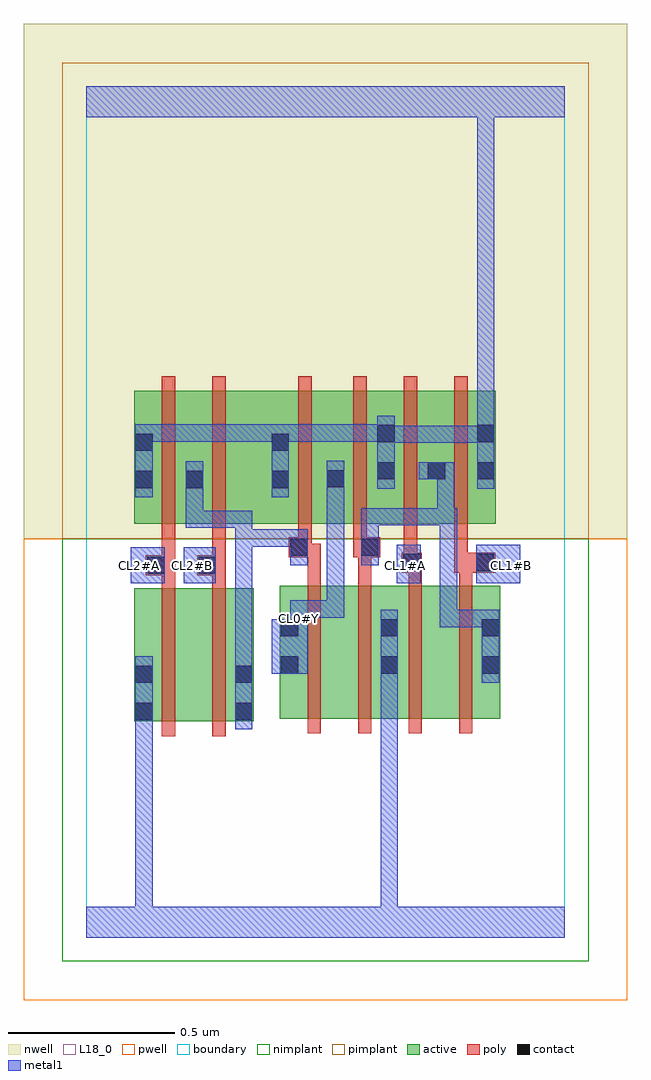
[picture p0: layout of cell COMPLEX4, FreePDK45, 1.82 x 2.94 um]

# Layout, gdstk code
import gdstk
lib = gdstk.Library(unit=1e-6, precision=1e-09)
def R(c, l, rs):  # rectangles x0, y0, x1, y1
    for r in rs: c.add(gdstk.rectangle(r[:2], r[2:], *l))
def A(c, l, x, y, w, h, nx, ny, dx, dy):  # array of equal rectangles
    R(c, l, [(x+i*dx, y+j*dy, x+i*dx+w, y+j*dy+h) for i in range(nx) for j in range(ny)])
active = (1, 0)
pwell = (2, 0)
nwell = (3, 0)
nimplant = (4, 0)
pimplant = (5, 0)
poly = (9, 0)
contact = (10, 0)
metal1 = (11, 0)
L18_0 = (18, 0)
boundary = (235, 0)

complex4 = lib.new_cell('COMPLEX4')
A(complex4, active, 0.72, 1.244, 0.06, 0.4, 3, 1, 0.152, 0)
R(complex4, active, [(0.144,0.65,0.324,1.05), (0.144,0.65,0.204,1.05), (0.324,0.65,0.504,1.05), (0.444,0.65,0.504,1.05), (0.582,0.658,0.762,1.058), (0.762,0.658,0.942,1.058), (0.882,0.658,1.066,1.058), (1.066,0.658,1.246,1.058), (0.582,0.756,0.642,1.058), (0.882,0.756,0.942,1.058), (1.186,0.756,1.246,1.058), (0.144,1.244,0.204,1.644), (0.144,1.244,0.356,1.644), (0.296,1.244,0.356,1.644), (0.296,1.244,0.614,1.644), (0.554,1.244,0.614,1.644), (0.554,1.244,0.78,1.644), (0.72,1.244,0.932,1.644), (0.872,1.244,1.084,1.644), (1.024,1.244,1.232,1.644), (1.172,1.244,1.232,1.644)])
R(complex4, pwell, [(-0.188,-0.188,1.628,1.2)])
R(complex4, nwell, [(-0.188,1.2,1.628,2.748)])
R(complex4, nimplant, [(-0.072,-0.072,1.512,1.2)])
R(complex4, pimplant, [(-0.072,1.2,1.512,2.632)])
A(complex4, poly, 0.666, 0.614, 0.04, 0.488, 4, 1, 0.152, 0)
A(complex4, poly, 0.804, 1.2, 0.04, 0.488, 3, 1, 0.152, 0)
R(complex4, poly, [(0.228,0.606,0.268,1.094), (0.38,0.606,0.42,1.094), (0.228,1.054,0.268,1.13), (0.38,1.054,0.42,1.13), (0.666,1.062,0.706,1.184), (0.818,1.062,0.858,1.184), (0.97,1.062,1.01,1.138), (1.122,1.062,1.162,1.138), (0.18,1.09,0.268,1.15), (0.228,1.09,0.268,1.13), (0.228,1.09,0.268,1.13), (0.334,1.09,0.42,1.15), (0.95,1.098,1.01,1.158), (1.108,1.098,1.23,1.158), (1.122,1.098,1.162,1.138), (1.122,1.098,1.162,1.138), (0.228,1.11,0.268,1.24), (0.38,1.11,0.42,1.15), (0.38,1.11,0.42,1.15), (0.38,1.11,0.42,1.24), (0.956,1.118,0.996,1.24), (0.956,1.118,0.996,1.158), (0.956,1.118,0.996,1.158), (1.108,1.118,1.148,1.24), (0.61,1.144,0.678,1.204), (0.638,1.144,0.678,1.184), (0.638,1.144,0.706,1.184), (0.804,1.144,0.884,1.204), (0.818,1.144,0.858,1.184), (0.818,1.144,0.858,1.184), (0.638,1.164,0.678,1.24), (0.804,1.164,0.844,1.24), (0.228,1.2,0.268,1.688), (0.38,1.2,0.42,1.688), (0.638,1.2,0.678,1.688)])
R(complex4, contact, [(0.148,0.654,0.2,0.706), (0.448,0.654,0.5,0.706), (0.148,0.766,0.2,0.818), (0.448,0.766,0.5,0.818), (0.586,0.794,0.638,0.846), (0.886,0.794,0.938,0.846), (1.19,0.794,1.242,0.846), (0.586,0.906,0.638,0.958), (0.886,0.906,0.938,0.958), (1.19,0.906,1.242,0.958), (0.184,1.094,0.236,1.146), (0.338,1.094,0.39,1.146), (0.954,1.102,1.006,1.154), (1.174,1.102,1.226,1.154), (0.614,1.148,0.666,1.2), (0.828,1.148,0.88,1.2), (0.148,1.352,0.2,1.404), (0.3,1.352,0.352,1.404), (0.558,1.352,0.61,1.404), (0.724,1.354,0.776,1.406), (0.876,1.378,0.928,1.43), (1.028,1.378,1.08,1.43), (1.176,1.378,1.228,1.43), (0.148,1.464,0.2,1.516), (0.558,1.464,0.61,1.516), (0.876,1.49,0.928,1.542), (1.176,1.49,1.228,1.542)])
A(complex4, metal1, 0.338, 1.492, 0.052, 0.052, 3, 1, 0.11, 0)
R(complex4, metal1, [(0,0,1.44,0.092), (0.148,0.04,0.2,0.092), (0.148,0.04,0.2,0.092), (0.148,0.04,0.2,0.092), (0.148,0.04,0.2,0.092), (0.148,0.04,0.2,0.092), (0.148,0.04,0.2,0.092), (0.148,0.04,0.2,0.092), (0.148,0.04,0.2,0.092), (0.148,0.04,0.2,0.092), (0.148,0.04,0.2,0.092), (0.148,0.04,0.2,0.092), (0.148,0.04,0.2,0.092), (0.148,0.04,0.2,0.678), (0.886,0.04,0.938,0.092), (0.886,0.04,0.938,0.092), (0.886,0.04,0.938,0.092), (0.886,0.04,0.938,0.092), (0.886,0.04,0.938,0.092), (0.886,0.04,0.938,0.092), (0.886,0.04,0.938,0.092), (0.886,0.04,0.938,0.092), (0.886,0.04,0.938,0.092), (0.886,0.04,0.938,0.092), (0.886,0.04,0.938,0.818), (0.148,0.626,0.2,0.846), (0.448,0.626,0.5,0.846), (0.886,0.766,0.938,0.818), (0.886,0.766,0.938,0.818), (0.886,0.766,0.938,0.986), (1.19,0.766,1.242,0.986), (0.448,0.794,0.5,1.228), (0.558,0.794,0.666,0.958), (0.614,0.906,0.666,0.958), (0.614,0.906,0.666,1.014), (1.064,0.934,1.116,0.986), (1.064,0.934,1.242,0.986), (1.064,0.934,1.116,1.292), (1.19,0.934,1.242,0.986), (1.19,0.934,1.242,0.986), (1.19,0.934,1.242,0.986), (1.19,0.934,1.242,0.986), (0.614,0.962,0.666,1.014), (0.614,0.962,0.666,1.014), (0.614,0.962,0.776,1.014), (0.724,0.962,0.776,1.014), (0.724,0.962,0.776,1.014), (0.724,0.962,0.776,1.014), (0.724,0.962,0.776,1.378), (0.134,1.066,0.236,1.174), (0.294,1.066,0.39,1.174), (0.934,1.066,1.006,1.182), (1.174,1.066,1.306,1.182), (0.614,1.12,0.666,1.228), (0.828,1.12,0.88,1.292), (0.448,1.176,0.5,1.228), (0.448,1.176,0.5,1.228), (0.448,1.176,0.666,1.228), (0.448,1.176,0.5,1.284), (0.614,1.176,0.666,1.228), (0.614,1.176,0.666,1.228), (0.3,1.232,0.352,1.284), (0.3,1.232,0.352,1.284), (0.3,1.232,0.352,1.284), (0.3,1.232,0.5,1.284), (0.3,1.232,0.352,1.376), (0.828,1.24,0.942,1.292), (0.89,1.24,0.942,1.292), (0.89,1.24,1.108,1.292), (1.056,1.24,1.108,1.292), (1.056,1.24,1.108,1.292), (1.056,1.24,1.108,1.43), (1.056,1.24,1.116,1.292), (0.148,1.324,0.2,1.544), (0.3,1.324,0.352,1.432), (0.558,1.324,0.61,1.544), (0.724,1.326,0.776,1.434), (0.876,1.35,0.928,1.57), (1.176,1.35,1.228,1.57), (1,1.378,1.108,1.43), (0.876,1.488,1.052,1.54), (1,1.488,1.052,1.54), (1,1.488,1.052,1.54), (1,1.488,1.052,1.54), (1,1.488,1.228,1.54), (1.176,1.488,1.228,1.54), (1.176,1.488,1.228,1.54), (0.148,1.492,0.2,1.544), (0.148,1.492,0.2,1.544), (0.148,1.492,0.39,1.544), (0.338,1.492,0.39,1.544), (0.338,1.492,0.39,1.544), (0.338,1.492,0.5,1.544), (0.448,1.492,0.61,1.544), (0.558,1.492,0.61,1.544), (0.558,1.492,0.776,1.544), (0.724,1.492,0.776,1.544), (0.724,1.492,0.776,1.544), (0.724,1.492,0.776,1.544), (0.724,1.492,0.928,1.544), (1.176,1.518,1.228,1.57), (1.176,1.518,1.228,1.57), (1.176,1.518,1.228,1.57), (1.176,1.518,1.228,1.57), (1.176,1.518,1.228,1.57), (1.176,1.518,1.228,1.57), (1.176,1.518,1.228,1.57), (1.176,1.518,1.228,1.57), (1.176,1.518,1.228,1.57), (1.176,1.518,1.228,1.57), (1.176,1.518,1.228,1.57), (1.176,1.518,1.228,1.57), (1.176,1.518,1.228,1.57), (1.176,1.518,1.228,1.57), (1.176,1.518,1.228,1.57), (1.176,1.518,1.228,1.57), (1.176,1.518,1.228,2.52), (0,2.468,1.44,2.56)])
A(complex4, L18_0, 0.614, 0.906, 0.052, 0.052, 1, 3, 0, 0.028)
A(complex4, L18_0, 0.338, 1.492, 0.052, 0.052, 3, 1, 0.11, 0)
R(complex4, L18_0, [(0,0,1.44,0.092), (0.148,0.04,0.2,0.092), (0.148,0.04,0.2,0.092), (0.148,0.04,0.2,0.092), (0.148,0.04,0.2,0.092), (0.148,0.04,0.2,0.092), (0.148,0.04,0.2,0.092), (0.148,0.04,0.2,0.092), (0.148,0.04,0.2,0.092), (0.148,0.04,0.2,0.092), (0.148,0.04,0.2,0.092), (0.148,0.04,0.2,0.092), (0.148,0.04,0.2,0.092), (0.148,0.04,0.2,0.678), (0.886,0.04,0.938,0.092), (0.886,0.04,0.938,0.092), (0.886,0.04,0.938,0.092), (0.886,0.04,0.938,0.092), (0.886,0.04,0.938,0.092), (0.886,0.04,0.938,0.092), (0.886,0.04,0.938,0.092), (0.886,0.04,0.938,0.092), (0.886,0.04,0.938,0.092), (0.886,0.04,0.938,0.092), (0.886,0.04,0.938,0.818), (0.148,0.626,0.2,0.846), (0.886,0.766,0.938,0.818), (0.886,0.766,0.938,0.818), (0.886,0.766,0.938,0.986), (0.558,0.794,0.666,0.958), (0.614,0.906,0.666,1.014), (0.614,0.962,0.666,1.014), (0.614,0.962,0.776,1.014), (0.724,0.962,0.776,1.014), (0.724,0.962,0.776,1.014), (0.724,0.962,0.776,1.014), (0.724,0.962,0.776,1.378), (0.134,1.066,0.236,1.174), (0.294,1.066,0.39,1.174), (0.934,1.066,1.006,1.182), (1.174,1.066,1.306,1.182), (0.134,1.094,0.186,1.146), (0.294,1.094,0.346,1.146), (0.934,1.094,0.986,1.146), (1.254,1.094,1.306,1.146), (0.148,1.324,0.2,1.544), (0.558,1.324,0.61,1.544), (0.724,1.326,0.776,1.434), (0.876,1.35,0.928,1.57), (1.176,1.35,1.228,1.57), (0.876,1.488,1.052,1.54), (1,1.488,1.052,1.54), (1,1.488,1.052,1.54), (1,1.488,1.052,1.54), (1,1.488,1.228,1.54), (1.176,1.488,1.228,1.54), (1.176,1.488,1.228,1.54), (0.148,1.492,0.2,1.544), (0.148,1.492,0.2,1.544), (0.148,1.492,0.39,1.544), (0.338,1.492,0.39,1.544), (0.338,1.492,0.39,1.544), (0.338,1.492,0.5,1.544), (0.448,1.492,0.61,1.544), (0.558,1.492,0.61,1.544), (0.558,1.492,0.776,1.544), (0.724,1.492,0.776,1.544), (0.724,1.492,0.776,1.544), (0.724,1.492,0.776,1.544), (0.724,1.492,0.928,1.544), (1.176,1.518,1.228,1.57), (1.176,1.518,1.228,1.57), (1.176,1.518,1.228,1.57), (1.176,1.518,1.228,1.57), (1.176,1.518,1.228,1.57), (1.176,1.518,1.228,1.57), (1.176,1.518,1.228,1.57), (1.176,1.518,1.228,1.57), (1.176,1.518,1.228,1.57), (1.176,1.518,1.228,1.57), (1.176,1.518,1.228,1.57), (1.176,1.518,1.228,1.57), (1.176,1.518,1.228,1.57), (1.176,1.518,1.228,1.57), (1.176,1.518,1.228,1.57), (1.176,1.518,1.228,1.57), (1.176,1.518,1.228,2.52), (0,2.468,1.44,2.56)])
R(complex4, boundary, [(0,0,1.44,2.56)])
complex4.add(gdstk.Label('CL0#Y', (0.64,0.96), layer=11, texttype=0))
complex4.add(gdstk.Label('CL1#A', (0.96,1.12), layer=11, texttype=0))
complex4.add(gdstk.Label('CL1#B', (1.28,1.12), layer=11, texttype=0))
complex4.add(gdstk.Label('CL2#A', (0.16,1.12), layer=11, texttype=0))
complex4.add(gdstk.Label('CL2#B', (0.32,1.12), layer=11, texttype=0))

lib.write_gds('COMPLEX4.gds')
